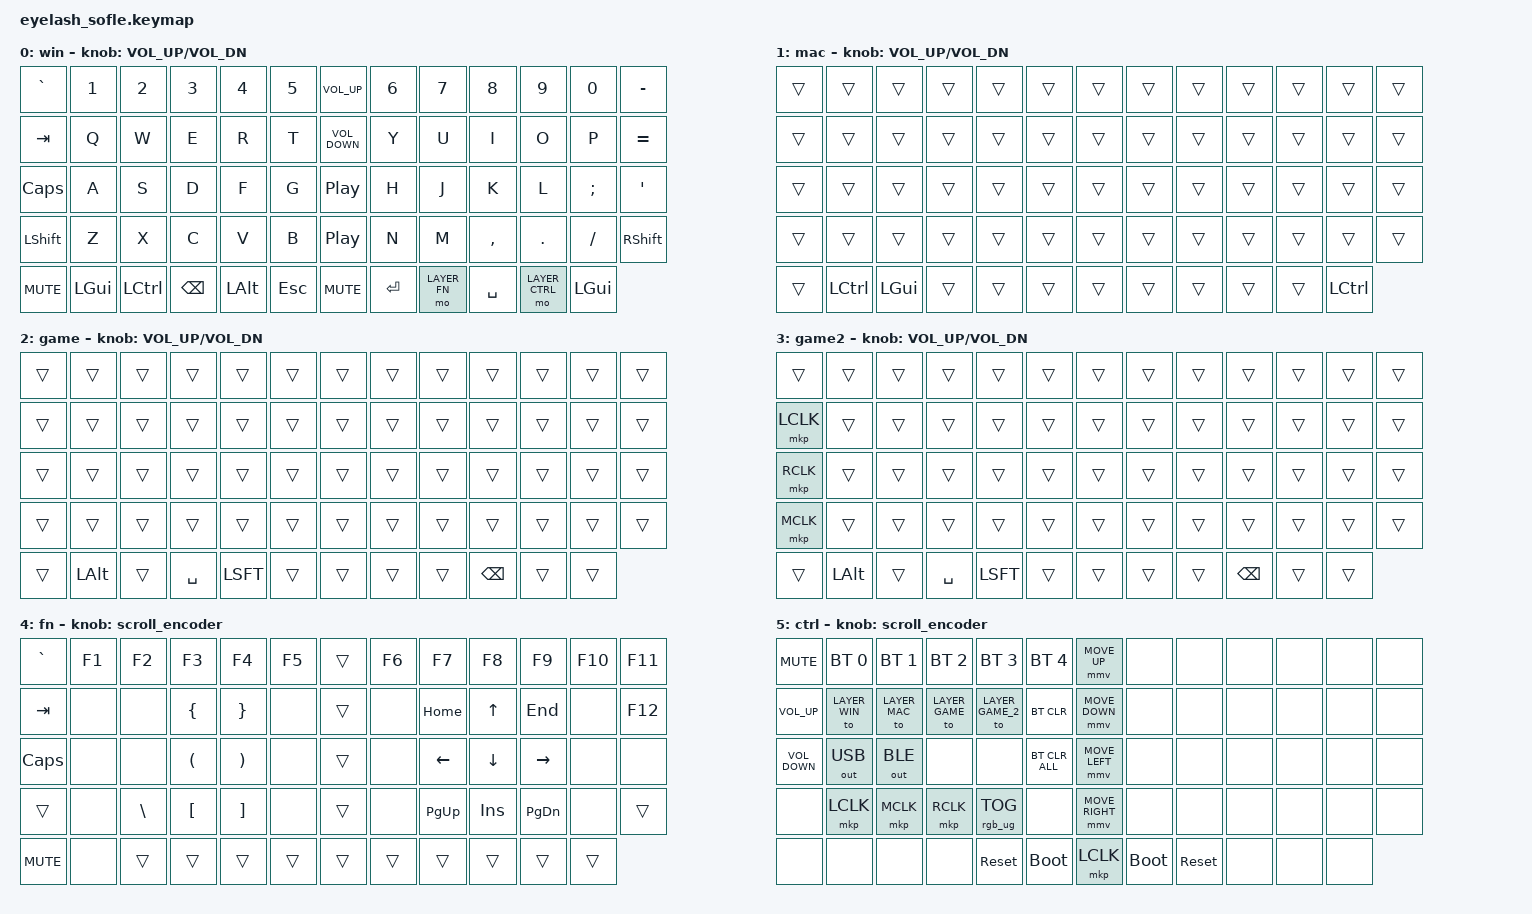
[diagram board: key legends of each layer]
#define ZMK_POINTING_DEFAULT_MOVE_VAL 1200  // 600
#define ZMK_POINTING_DEFAULT_SCRL_VAL 25   // 10

#include <input/processors.dtsi>
#include <zephyr/dt-bindings/input/input-event-codes.h>
#include <behaviors.dtsi>
#include <dt-bindings/zmk/bt.h>
#include <dt-bindings/zmk/keys.h>
#include <dt-bindings/zmk/mouse.h>
#include <dt-bindings/zmk/outputs.h>
#include <dt-bindings/zmk/pointing.h>
#include <dt-bindings/zmk/rgb.h>

&mmv_input_listener { input-processors = <&zip_xy_scaler 2 1>; };

&msc_input_listener { input-processors = <&zip_scroll_scaler 2 1>; };

&msc {
    acceleration-exponent = <1>;      // 0
    time-to-max-speed-ms = <100>;       // 300
    delay-ms = <0>;                   // 0
};

&mmv {
    time-to-max-speed-ms = <500>;
    acceleration-exponent = <1>;
    trigger-period-ms = <16>;
};

#define LAYER_WIN    0
#define LAYER_MAC    1
#define LAYER_GAME   2
#define LAYER_GAME_2 3
#define LAYER_FN     4
#define LAYER_CTRL   5

/ {
    scroll_encoder: scroll_encoder {
        compatible = "zmk,behavior-sensor-rotate";
        #sensor-binding-cells = <0>;
        bindings = <&msc SCRL_DOWN>, <&msc SCRL_UP>;

        tap-ms = <100>;
    };

    behaviors {
    };

    keymap {
        compatible = "zmk,keymap";

        win {
            bindings = <
&kp GRAVE  &kp N1   &kp N2    &kp N3        &kp N4   &kp N5  &kp C_VOLUME_UP   &kp N6    &kp N7        &kp N8    &kp N9         &kp N0   &kp MINUS
&kp TAB    &kp Q    &kp W     &kp E         &kp R    &kp T   &kp C_VOLUME_DOWN &kp Y     &kp U         &kp I     &kp O          &kp P    &kp EQUAL
&kp CAPS   &kp A    &kp S     &kp D         &kp F    &kp G   &kp C_PLAY_PAUSE  &kp H     &kp J         &kp K     &kp L          &kp SEMI &kp APOS
&kp LSHFT  &kp Z    &kp X     &kp C         &kp V    &kp B   &kp C_PLAY_PAUSE  &kp N     &kp M         &kp COMMA &kp DOT        &kp FSLH &kp RSHIFT
&kp C_MUTE &kp LGUI &kp LCTRL &kp BACKSPACE &kp LALT &kp ESC &kp C_MUTE        &kp ENTER &mo LAYER_FN  &kp SPACE &mo LAYER_CTRL &kp LGUI
            >;

            sensor-bindings = <&inc_dec_kp C_VOLUME_UP C_VOL_DN>;
            display-name = "win";
        };

        mac {
            bindings = <
&trans &trans    &trans   &trans &trans &trans &trans &trans &trans &trans &trans &trans &trans
&trans &trans    &trans   &trans &trans &trans &trans &trans &trans &trans &trans &trans &trans
&trans &trans    &trans   &trans &trans &trans &trans &trans &trans &trans &trans &trans &trans
&trans &trans    &trans   &trans &trans &trans &trans &trans &trans &trans &trans &trans &trans
&trans &kp LCTRL &kp LGUI &trans &trans &trans &trans &trans &trans &trans &trans &kp LCTRL
            >;

            sensor-bindings = <&inc_dec_kp C_VOLUME_UP C_VOL_DN>;
            display-name = "mac";
        };

        game {
            bindings = <
&trans &trans   &trans &trans    &trans   &trans &trans &trans &trans &trans        &trans &trans &trans
&trans &trans   &trans &trans    &trans   &trans &trans &trans &trans &trans        &trans &trans &trans
&trans &trans   &trans &trans    &trans   &trans &trans &trans &trans &trans        &trans &trans &trans
&trans &trans   &trans &trans    &trans   &trans &trans &trans &trans &trans        &trans &trans &trans
&trans &kp LALT &trans &kp SPACE &kp LSFT &trans &trans &trans &trans &kp BACKSPACE &trans &trans
            >;

            sensor-bindings = <&inc_dec_kp C_VOLUME_UP C_VOL_DN>;
            display-name = "game";
        };

        game2 {
            bindings = <
&trans    &trans   &trans &trans    &trans   &trans &trans &trans &trans &trans        &trans &trans &trans
&mkp LCLK &trans   &trans &trans    &trans   &trans &trans &trans &trans &trans        &trans &trans &trans
&mkp RCLK &trans   &trans &trans    &trans   &trans &trans &trans &trans &trans        &trans &trans &trans
&mkp MCLK &trans   &trans &trans    &trans   &trans &trans &trans &trans &trans        &trans &trans &trans
&trans    &kp LALT &trans &kp SPACE &kp LSFT &trans &trans &trans &trans &kp BACKSPACE &trans &trans
            >;

            sensor-bindings = <&inc_dec_kp C_VOLUME_UP C_VOL_DN>;
            display-name = "game2";
        };

        fn {
            bindings = <
&kp GRAVE   &kp F1 &kp F2         &kp F3   &kp F4   &kp F5 &trans &kp F6  &kp F7      &kp F8     &kp F9        &kp F10 &kp F11
&kp TAB     &none  &none          &kp LBRC &kp RBRC &none  &trans &none   &kp HOME    &kp UP     &kp END       &none   &kp F12
&kp CAPS    &none  &none          &kp LPAR &kp RPAR &none  &trans &none   &kp LEFT    &kp DOWN   &kp RIGHT     &none   &none
&trans      &none  &kp BACKSLASH  &kp LBKT &kp RBKT &none  &trans &none   &kp PAGE_UP &kp INSERT &kp PAGE_DOWN &none   &trans
&kp C_MUTE  &none  &trans         &trans   &trans   &trans &trans &trans  &trans      &trans     &trans        &trans
            >;

            sensor-bindings = <&scroll_encoder>;
            display-name = "fn";
        };

        ctrl {
            bindings = <
&kp C_MUTE        &bt BT_SEL 0  &bt BT_SEL 1  &bt BT_SEL 2   &bt BT_SEL 3     &bt BT_SEL 4    &mmv MOVE_UP    &none       &none      &none &none &none &none
&kp C_VOLUME_UP   &to LAYER_WIN &to LAYER_MAC &to LAYER_GAME &to LAYER_GAME_2 &bt BT_CLR      &mmv MOVE_DOWN  &none       &none      &none &none &none &none
&kp C_VOLUME_DOWN &out OUT_USB  &out OUT_BLE  &none          &none            &bt BT_CLR_ALL  &mmv MOVE_LEFT  &none       &none      &none &none &none &none
&none             &mkp LCLK     &mkp MCLK     &mkp RCLK      &rgb_ug RGB_TOG  &none           &mmv MOVE_RIGHT &none       &none      &none &none &none &none
&none             &none         &none         &none          &sys_reset       &bootloader     &mkp LCLK       &bootloader &sys_reset &none &none &none
            >;

            sensor-bindings = <&scroll_encoder>;
            display-name = "ctrl";
        };
    };
};


